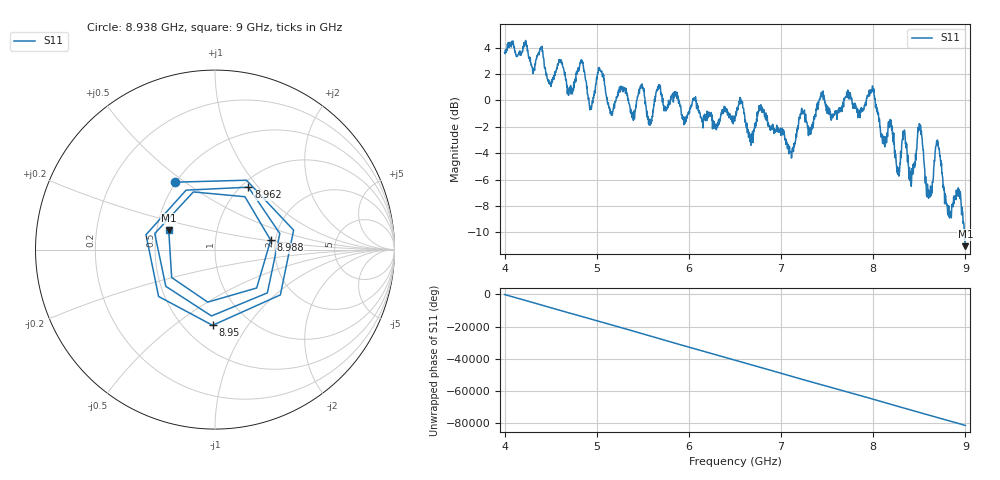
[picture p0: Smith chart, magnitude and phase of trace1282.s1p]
! Created with skrf 1.8.0 (http://scikit-rf.org).
# Hz S RI R 50.0
!freq ReS11 ImS11
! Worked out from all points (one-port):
!   1601 points, 4 GHz to 9 GHz, reference 50 ohm
!   lowest |S11| = -11.1 dB at 9 GHz (marker M1), VSWR 1.78, Z = 28.9 + j6.87 ohm
!   |S11| at or under -10 dB: 8.987717 GHz to end of sweep
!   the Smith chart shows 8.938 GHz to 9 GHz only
!   S11 on the Smith chart (normalised r, x): 8.938 GHz: 0.49, +0.46; 8.95 GHz: 0.68, -0.70; 8.962 GHz: 1.08, +0.89; 8.988 GHz: 1.88, +0.22; 9 GHz: 0.58, +0.14
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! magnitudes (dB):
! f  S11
! 4 GHz  3.6
! 4.625 GHz  2.8
! 4.716 GHz  1.1
! 4.841 GHz  3.0
! 4.931 GHz  -0.5
! 5.031 GHz  2.4
! 5.153 GHz  -0.9
! 5.25 GHz  1.0
! 5.491 GHz  1.2
! 5.575 GHz  -1.4
! 5.666 GHz  0.8
! 5.875 GHz  0.3
! 6.5 GHz  -1.2
! 7.125 GHz  -3.6
! 7.231 GHz  -1.0
! 7.75 GHz  0.5
! 7.988 GHz  0.8
! 8.262 GHz  -5.5
! 8.375 GHz  -4.1
! 8.506 GHz  -2.3
! 8.603 GHz  -6.8
! 8.697 GHz  -3.0
! 8.822 GHz  -8.8
! 8.938 GHz  -7.2
! 8.95 GHz  -7.5
! 8.962 GHz  -8.1
! 8.988 GHz  -10.0
! 9 GHz  -11.1
